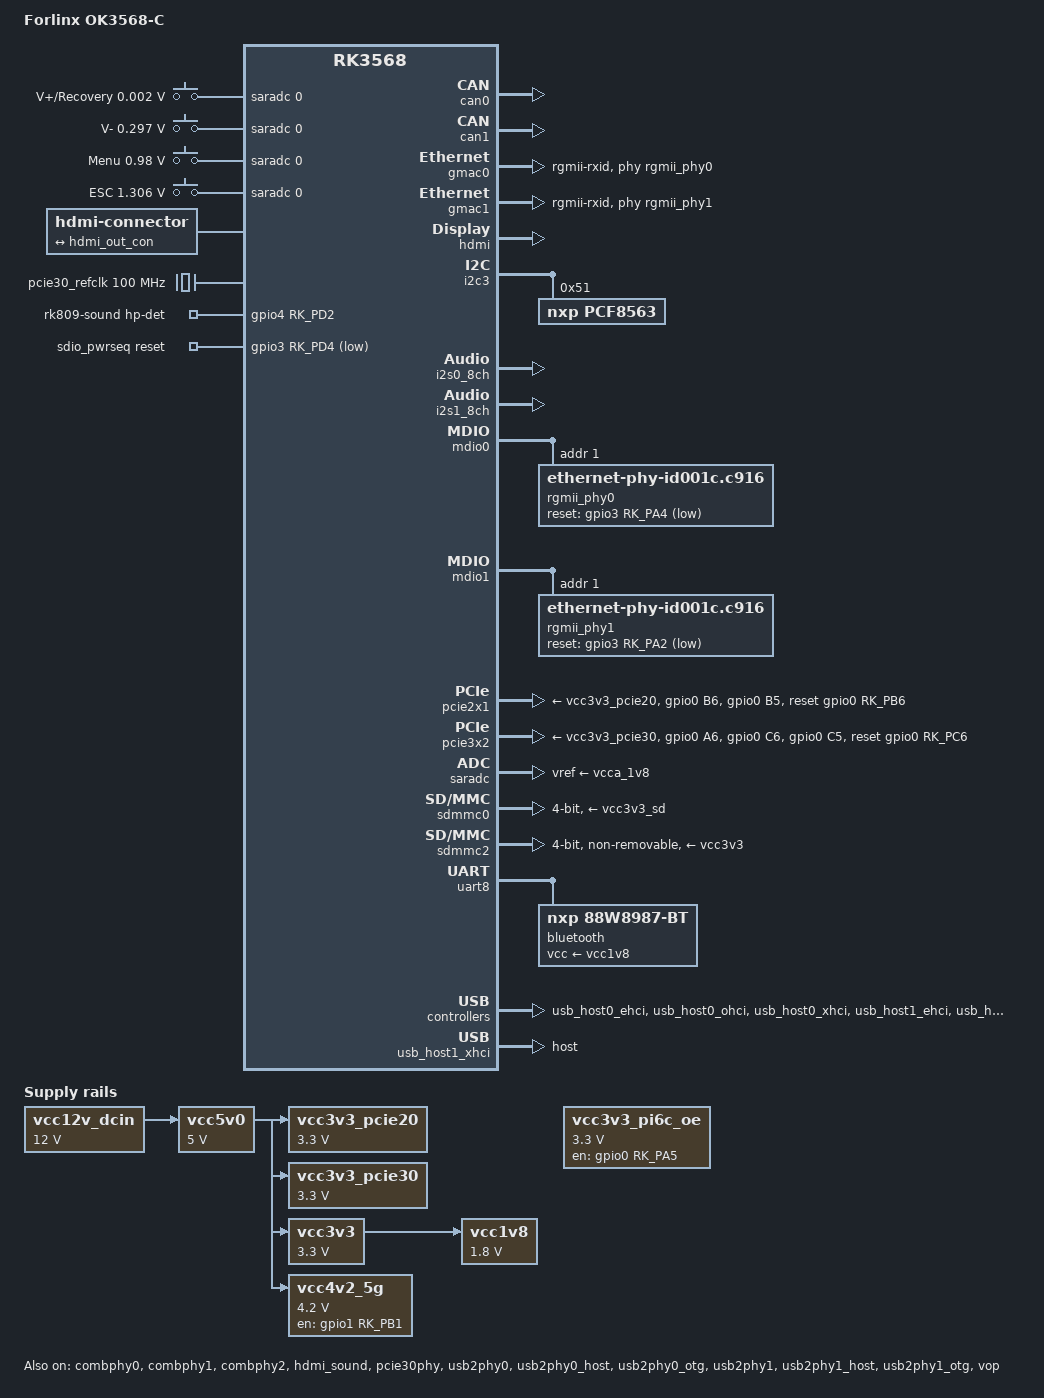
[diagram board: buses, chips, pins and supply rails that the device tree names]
// SPDX-License-Identifier: (GPL-2.0+ OR MIT)

/dts-v1/;

#include <dt-bindings/input/input.h>
#include <dt-bindings/leds/common.h>
#include <dt-bindings/soc/rockchip,vop2.h>
#include "rk3568-fet3568-c.dtsi"

/ {
	model = "Forlinx OK3568-C";
	compatible = "forlinx,ok3568-c", "forlinx,fet3568-c", "rockchip,rk3568";

	aliases {
		ethernet0 = &gmac0;
		ethernet1 = &gmac1;
		mmc1 = &sdmmc0;
	};

	adc-keys-0 {
		compatible = "adc-keys";
		io-channels = <&saradc 0>;
		io-channel-names = "buttons";
		keyup-threshold-microvolt = <1750000>;
		poll-interval = <100>;

		button-volume-up {
			label = "V+/Recovery";
			linux,code = <KEY_VOLUMEUP>;
			press-threshold-microvolt = <1750>;
		};

		button-volume-down {
			label = "V-";
			linux,code = <KEY_VOLUMEDOWN>;
			press-threshold-microvolt = <297500>;
		};

		button-menu {
			label = "Menu";
			linux,code = <KEY_MENU>;
			press-threshold-microvolt = <980000>;
		};

		button-escape {
			label = "ESC";
			linux,code = <KEY_ESC>;
			press-threshold-microvolt = <1305500>;
		};
	};

	hdmi-con {
		compatible = "hdmi-connector";
		type = "a";

		port {
			hdmi_con_in: endpoint {
				remote-endpoint = <&hdmi_out_con>;
			};
		};
	};

	/* DSC557-0344FI1 clock generator */
	pcie30_refclk: pcie-clock-generator {
		compatible = "gated-fixed-clock";
		#clock-cells = <0>;
		clock-frequency = <100000000>;
		clock-output-names = "pcie30_refclk";
		vdd-supply = <&vcc3v3_pi6c_oe>;
	};

	rk809-sound {
		compatible = "simple-audio-card";
		pinctrl-names = "default";
		pinctrl-0 = <&hp_detect>;
		simple-audio-card,name = "Analog RK809";
		simple-audio-card,format = "i2s";
		simple-audio-card,hp-det-gpios = <&gpio4 RK_PD2 GPIO_ACTIVE_HIGH>;
		simple-audio-card,mclk-fs = <256>;
		simple-audio-card,widgets =
			"Headphone", "Headphones",
			"Speaker", "Speaker",
			"Microphone", "Onboard Microphone",
			"Microphone", "Headset Microphone";
		simple-audio-card,routing =
			"Headphones", "HPOL",
			"Headphones", "HPOR",
			"Speaker", "SPKO",
			"MICL", "Onboard Microphone",
			"MICR", "Headset Microphone";

		simple-audio-card,cpu {
			sound-dai = <&i2s1_8ch>;
		};

		simple-audio-card,codec {
			sound-dai = <&rk809>;
		};
	};

	sdio_pwrseq: sdio-pwrseq {
		compatible = "mmc-pwrseq-simple";
		pinctrl-names = "default";
		pinctrl-0 = <&wifi_reg_on>;
		post-power-on-delay-ms = <200>;
		power-off-delay-us = <20000>;
		reset-gpios = <&gpio3 RK_PD4 GPIO_ACTIVE_LOW>;
	};

	vcc12v_dcin: regulator-12v-vcc-dcin {
		compatible = "regulator-fixed";
		regulator-name = "vcc12v_dcin";
		regulator-always-on;
		regulator-boot-on;
		regulator-min-microvolt = <12000000>;
		regulator-max-microvolt = <12000000>;
	};

	vcc1v8: regulator-1v8-vcc {
		compatible = "regulator-fixed";
		regulator-name = "vcc1v8";
		regulator-always-on;
		regulator-boot-on;
		regulator-min-microvolt = <1800000>;
		regulator-max-microvolt = <1800000>;
		vin-supply = <&vcc3v3>;
	};

	vcc3v3_pi6c_oe: regulator-3v3-vcc-pi6c-oe {
		compatible = "regulator-fixed";
		enable-active-high;
		gpios = <&gpio0 RK_PA5 GPIO_ACTIVE_HIGH>;
		pinctrl-names = "default";
		pinctrl-0 = <&pi6c_oe>;
		regulator-name = "vcc3v3_pi6c_oe";
		regulator-min-microvolt = <3300000>;
		regulator-max-microvolt = <3300000>;
		startup-delay-us = <5000>;
	};

	vcc3v3_pcie20: regulator-3v3-vcc-pcie20 {
		compatible = "regulator-fixed";
		regulator-name = "vcc3v3_pcie20";
		regulator-always-on;
		regulator-boot-on;
		regulator-min-microvolt = <3300000>;
		regulator-max-microvolt = <3300000>;
		vin-supply = <&vcc5v0>;
	};

	vcc3v3_pcie30: regulator-3v3-vcc-pcie30 {
		compatible = "regulator-fixed";
		regulator-name = "vcc3v3_pcie30";
		regulator-always-on;
		regulator-boot-on;
		regulator-min-microvolt = <3300000>;
		regulator-max-microvolt = <3300000>;
		vin-supply = <&vcc5v0>;
	};

	vcc3v3: regulator-3v3-vcc {
		compatible = "regulator-fixed";
		regulator-name = "vcc3v3";
		regulator-always-on;
		regulator-boot-on;
		regulator-min-microvolt = <3300000>;
		regulator-max-microvolt = <3300000>;
		vin-supply = <&vcc5v0>;
	};

	vcc4v2_5g: regulator-4v2-vcc-5g {
		compatible = "regulator-fixed";
		enable-active-high;
		gpios = <&gpio1 RK_PB1 GPIO_ACTIVE_HIGH>;
		pinctrl-names = "default";
		pinctrl-0 = <&modem_5g_pwr>;
		regulator-name = "vcc4v2_5g";
		regulator-min-microvolt = <4200000>;
		regulator-max-microvolt = <4200000>;
		startup-delay-us = <50000>;
		vin-supply = <&vcc5v0>;
	};

	vcc5v0: regulator-5v0-vcc {
		compatible = "regulator-fixed";
		regulator-name = "vcc5v0";
		regulator-always-on;
		regulator-boot-on;
		regulator-min-microvolt = <5000000>;
		regulator-max-microvolt = <5000000>;
		vin-supply = <&vcc12v_dcin>;
	};
};

&can0 {
	compatible = "rockchip,rk3568v3-canfd", "rockchip,rk3568v2-canfd";
	assigned-clocks = <&cru CLK_CAN0>;
	assigned-clock-rates = <300000000>;
	pinctrl-names = "default";
	pinctrl-0 = <&can0m0_pins>;
	status = "okay";
};

&can1 {
	compatible = "rockchip,rk3568v3-canfd", "rockchip,rk3568v2-canfd";
	assigned-clocks = <&cru CLK_CAN1>;
	assigned-clock-rates = <300000000>;
	pinctrl-names = "default";
	pinctrl-0 = <&can1m1_pins>;
	status = "okay";
};

&combphy0 {
	status = "okay";
};

&combphy1 {
	status = "okay";
};

&combphy2 {
	status = "okay";
};

&gmac0 {
	clock_in_out = "output";
	phy-handle = <&rgmii_phy0>;
	/* Use rgmii-rxid mode to disable rx delay inside Soc */
	phy-mode = "rgmii-rxid";
	pinctrl-names = "default";
	pinctrl-0 = <&gmac0_miim
		     &gmac0_tx_bus2
		     &gmac0_rx_bus2
		     &gmac0_rgmii_clk
		     &gmac0_rgmii_bus
		     &gmac0_clkinout
		     &eth0_pins>;
	tx_delay = <0x36>;
	status = "okay";
};

&gmac1 {
	clock_in_out = "output";
	phy-handle = <&rgmii_phy1>;
	/* Use rgmii-rxid mode to disable rx delay inside Soc */
	phy-mode = "rgmii-rxid";
	pinctrl-names = "default";
	pinctrl-0 = <&gmac1m1_miim
		     &gmac1m1_tx_bus2
		     &gmac1m1_rx_bus2
		     &gmac1m1_rgmii_clk
		     &gmac1m1_rgmii_bus
		     &gmac1m1_clkinout
		     &eth1m1_pins>;
	tx_delay = <0x47>;
	status = "okay";
};

&hdmi {
	avdd-0v9-supply = <&vdda0v9_image>;
	avdd-1v8-supply = <&vcca1v8_image>;
	status = "okay";
};

&hdmi_in {
	hdmi_in_vp0: endpoint {
		remote-endpoint = <&vp0_out_hdmi>;
	};
};

&hdmi_out {
	hdmi_out_con: endpoint {
		remote-endpoint = <&hdmi_con_in>;
	};
};

&hdmi_sound {
	status = "okay";
};

&i2c3 {
	status = "okay";

	pcf8563: rtc@51 {
		compatible = "nxp,pcf8563";
		reg = <0x51>;
	};
};

&i2s0_8ch {
	status = "okay";
};

&i2s1_8ch {
	pinctrl-names = "default";
	pinctrl-0 = <&i2s1m0_sclktx
		     &i2s1m0_lrcktx
		     &i2s1m0_sdi0
		     &i2s1m0_sdo0>;
	rockchip,trcm-sync-tx-only;
	status = "okay";
};

&mdio0 {
	rgmii_phy0: ethernet-phy@1 {
		compatible = "ethernet-phy-id001c.c916";
		reg = <0x1>;
		clocks = <&cru CLK_MAC0_OUT>;
		assigned-clocks = <&cru CLK_MAC0_OUT>;
		assigned-clock-rates = <25000000>;
		pinctrl-names = "default";
		pinctrl-0 = <&rgmii_phy0_rst>;
		reset-assert-us = <20000>;
		reset-deassert-us = <100000>;
		reset-gpios = <&gpio3 RK_PA4 GPIO_ACTIVE_LOW>;
	};
};

&mdio1 {
	rgmii_phy1: ethernet-phy@1 {
		compatible = "ethernet-phy-id001c.c916";
		reg = <0x1>;
		clocks = <&cru CLK_MAC1_OUT>;
		assigned-clocks = <&cru CLK_MAC1_OUT>;
		assigned-clock-rates = <25000000>;
		pinctrl-names = "default";
		pinctrl-0 = <&rgmii_phy1_rst>;
		reset-assert-us = <20000>;
		reset-deassert-us = <100000>;
		reset-gpios = <&gpio3 RK_PA2 GPIO_ACTIVE_LOW>;
	};
};

&pcie2x1 {
	pinctrl-names = "default";
	pinctrl-0 = <&pcie20m0_pins>;
	reset-gpios = <&gpio0 RK_PB6 GPIO_ACTIVE_HIGH>;
	vpcie3v3-supply = <&vcc3v3_pcie20>;
	status = "okay";
};

&pcie30phy {
	status = "okay";
};

&pcie3x2 {
	clocks = <&cru ACLK_PCIE30X2_MST>, <&cru ACLK_PCIE30X2_SLV>,
		 <&cru ACLK_PCIE30X2_DBI>, <&cru PCLK_PCIE30X2>,
		 <&cru CLK_PCIE30X2_AUX_NDFT>,
		 <&cru CLK_PCIE30X2_PIPE_DFT>,
		 <&pcie30_refclk>;
	clock-names = "aclk_mst", "aclk_slv",
		      "aclk_dbi", "pclk", "aux",
		      "pipe", "ref";
	pinctrl-names = "default";
	pinctrl-0 = <&pcie30x2m0_pins>;
	reset-gpios = <&gpio0 RK_PC6 GPIO_ACTIVE_HIGH>;
	vpcie3v3-supply = <&vcc3v3_pcie30>;
	status = "okay";
};

&pinctrl {
	bluetooth {
		bt_reg_on: bt-reg-on {
			rockchip,pins = <3 RK_PD5 RK_FUNC_GPIO &pcfg_pull_none>;
		};

		bt_wake_host: bt-wake-host {
			rockchip,pins = <0 RK_PD3 RK_FUNC_GPIO &pcfg_pull_up>;
		};

		host_wake_bt: host-wake-bt {
			rockchip,pins = <0 RK_PD5 RK_FUNC_GPIO &pcfg_pull_none>;
		};
	};

	ethernet {
		rgmii_phy0_rst: rgmii-phy0-rst {
			rockchip,pins = <3 RK_PA4 RK_FUNC_GPIO &pcfg_pull_none>;
		};

		rgmii_phy1_rst: rgmii-phy1-rst {
			rockchip,pins = <3 RK_PA2 RK_FUNC_GPIO &pcfg_pull_none>;
		};
	};

	modem {
		modem_5g_pwr: modem-5g-pwr {
			rockchip,pins = <1 RK_PB1 RK_FUNC_GPIO &pcfg_pull_none>;
		};

		modem_5g_reset: modem-5g-reset {
			rockchip,pins = <1 RK_PB2 RK_FUNC_GPIO &pcfg_pull_none>;
		};
	};

	/* Drop pcie20_clkreqnm0 pin. Used as DSC557-0344FI1 enable-gpio instead. */
	pcie20 {
		pcie20m0_pins: pcie20m0-pins {
			rockchip,pins =
				/* pcie20_perstnm0 */
				<0 RK_PB6 RK_FUNC_GPIO &pcfg_pull_none>,
				/* pcie20_wakenm0 */
				<0 RK_PB5 3 &pcfg_pull_none>;
		};
	};

	pcie30x2 {
		pcie30x2m0_pins: pcie30x2m0-pins {
			rockchip,pins =
				/* pcie30x2_clkreqnm0 */
				<0 RK_PA6 2 &pcfg_pull_none>,
				/* pcie30x2_perstnm0 */
				<0 RK_PC6 RK_FUNC_GPIO &pcfg_pull_none>,
				/* pcie30x2_wakenm0 */
				<0 RK_PC5 3 &pcfg_pull_none>;
		};

		pi6c_oe: pi6c-oe {
			rockchip,pins = <0 RK_PA5 RK_FUNC_GPIO &pcfg_pull_none>;
		};
	};

	sound {
		hp_detect: hp-detect {
			rockchip,pins = <4 RK_PD2 RK_FUNC_GPIO &pcfg_pull_none>;
		};
	};

	wifi {
		wifi_reg_on: wifi-reg-on {
			rockchip,pins = <3 RK_PD4 RK_FUNC_GPIO &pcfg_pull_none>;
		};

		wifi_host_wake: wifi-host-wake {
			rockchip,pins = <0 RK_PD4 RK_FUNC_GPIO &pcfg_pull_none>;
		};
	};
};

&pmu_io_domains {
	pmuio1-supply = <&vcc3v3_pmu>;
	pmuio2-supply = <&vcc3v3_pmu>;
	vccio1-supply = <&vccio_acodec>;
	vccio2-supply = <&vcc_1v8>;
	vccio3-supply = <&vccio_sd>;
	vccio4-supply = <&vcc_1v8>;
	vccio5-supply = <&vcc_3v3>;
	vccio6-supply = <&vcc_1v8>;
	vccio7-supply = <&vcc_3v3>;
	status = "okay";
};

&saradc {
	vref-supply = <&vcca_1v8>;
	status = "okay";
};

&sdmmc0 {
	bus-width = <4>;
	cap-sd-highspeed;
	disable-wp;
	pinctrl-names = "default";
	pinctrl-0 = <&sdmmc0_bus4 &sdmmc0_clk &sdmmc0_cmd &sdmmc0_det>;
	sd-uhs-sdr50;
	sd-uhs-sdr104;
	vmmc-supply = <&vcc3v3_sd>;
	vqmmc-supply = <&vccio_sd>;
	status = "okay";
};

/* WiFi part of the AW-CM358SM connected with SDIO */
&sdmmc2 {
	bus-width = <4>;
	cap-sd-highspeed;
	cap-sdio-irq;
	keep-power-in-suspend;
	mmc-pwrseq = <&sdio_pwrseq>;
	non-removable;
	pinctrl-names = "default";
	pinctrl-0 = <&sdmmc2m0_bus4 &sdmmc2m0_clk &sdmmc2m0_cmd>;
	sd-uhs-sdr104;
	vmmc-supply = <&vcc3v3>;
	vqmmc-supply = <&vcc1v8>;
	status = "okay";
};

/* BT part of the AW-CM358SM connected with UART */
&uart8 {
	dma-names = "tx", "rx";
	pinctrl-names = "default";
	pinctrl-0 = <&uart8m0_xfer &uart8m0_ctsn &uart8m0_rtsn>;
	uart-has-rtscts;
	status = "okay";

	bluetooth {
		compatible = "nxp,88w8987-bt";
		pinctrl-names = "default";
		pinctrl-0 = <&bt_reg_on &bt_wake_host &host_wake_bt>;
		vcc-supply = <&vcc1v8>;
		wakeup-source;
	};
};

&usb_host0_ehci {
	status = "okay";
};

&usb_host0_ohci {
	status = "okay";
};

&usb_host0_xhci {
	extcon = <&usb2phy0>;
	status = "okay";
};

&usb_host1_ehci {
	status = "okay";
};

&usb_host1_ohci {
	status = "okay";
};

&usb_host1_xhci {
	dr_mode = "host";
	status = "okay";
};

&usb2phy0 {
	status = "okay";
};

&usb2phy0_host {
	phy-supply = <&vcc4v2_5g>;
	status = "okay";
};

&usb2phy0_otg {
	phy-supply = <&vcc5v0>;
	status = "okay";
};

&usb2phy1 {
	status = "okay";
};

&usb2phy1_host {
	phy-supply = <&vcc5v0>;
	status = "okay";
};

&usb2phy1_otg {
	phy-supply = <&vcc5v0>;
	status = "okay";
};

&vop {
	assigned-clocks = <&cru DCLK_VOP0>, <&cru DCLK_VOP1>;
	assigned-clock-parents = <&pmucru PLL_HPLL>, <&cru PLL_VPLL>;
	status = "okay";
};

&vop_mmu {
	status = "okay";
};

&vp0 {
	vp0_out_hdmi: endpoint@ROCKCHIP_VOP2_EP_HDMI0 {
		reg = <ROCKCHIP_VOP2_EP_HDMI0>;
		remote-endpoint = <&hdmi_in_vp0>;
	};
};
